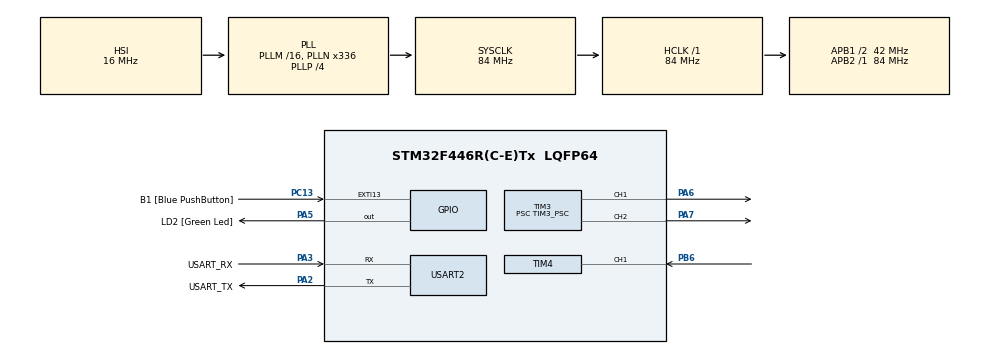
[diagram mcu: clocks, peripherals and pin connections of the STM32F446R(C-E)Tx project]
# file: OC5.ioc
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Mcu.Family=STM32F4
PH0-OSC_IN.Signal=RCC_OSC_IN
RCC.CortexFreq_Value=84000000
PA14.GPIO_Label=TCK
PC13.GPIO_Label=B1 [Blue PushButton]
RCC.SYSCLKSource=RCC_SYSCLKSOURCE_PLLCLK
ProjectManager.StackSize=0x400
TIM4.Channel-Input_Capture1_from_TI1=TIM_CHANNEL_1
Mcu.UserConstants=TIM3_ARR_F2,TIM3_ARR/2;TIM3_ARR,1999;TIM3_PSC,46;TIM4_PSC,TIM3_PSC;TIM4_ARR,TIM3_ARR_F2/2
RCC.HCLKFreq_Value=84000000
RCC.APB2TimFreq_Value=84000000
TIM3.Period=TIM3_ARR
PB6.Signal=S_TIM4_CH1
VP_TIM10_VS_ClockSourceINT.Mode=Enable_Timer
RCC.AHBFreq_Value=84000000
PH0-OSC_IN.Mode=HSE-External-Oscillator
RCC.HSE_VALUE=8000000
PC14-OSC32_IN.Mode=LSE-External-Oscillator
PA14.Mode=Serial_Wire
TIM3.Prescaler=TIM3_PSC
NVIC.TIM2_IRQn=true\:0\:0\:false\:false\:true\:true\:true
SH.S_TIM3_CH1.0=TIM3_CH1,Output Compare1 CH1
TIM4.Period=TIM3_ARR_F2/2
RCC.FLatency-AdvancedSettings=FLASH_LATENCY_2
TIM3.OCPolarity_1=TIM_OCPOLARITY_LOW
TIM3.OCPolarity_2=TIM_OCPOLARITY_LOW
PH1-OSC_OUT.Mode=HSE-External-Oscillator
Mcu.Package=LQFP64
TIM2.Prescaler=46
PA6.Signal=S_TIM3_CH1
USART2.VirtualMode=VM_ASYNC
PA2.GPIO_Label=USART_TX
SH.S_TIM4_CH1.0=TIM4_CH1,Input_Capture1_from_TI1
RCC.APB1TimFreq_Value=84000000
TIM3.Channel-Output\ Compare2\ CH2=TIM_CHANNEL_2
VP_TIM3_VS_ClockSourceINT.Mode=Internal
PA3.Signal=USART2_RX
PB3.GPIO_Label=SWO
TIM10.Prescaler=19999
PC15-OSC32_OUT.Mode=LSE-External-Oscillator
PC13.Signal=GPXTI13
RCC.APB1CLKDivider=RCC_HCLK_DIV2
PC14-OSC32_IN.Signal=RCC_OSC32_IN
PA13.Signal=SYS_JTMS-SWDIO
PA3.Mode=Asynchronous
TIM4.ICPolarity_CH1=TIM_INPUTCHANNELPOLARITY_RISING
ProjectManager.TargetToolchain=STM32CubeIDE
RCC.USBFreq_Value=168000000
TIM4.Prescaler=TIM4_PSC
PC15-OSC32_OUT.Signal=RCC_OSC32_OUT
TIM3.Channel-Output\ Compare1\ CH1=TIM_CHANNEL_1
PA5.Signal=GPIO_Output
SH.S_TIM3_CH2.0=TIM3_CH2,Output Compare2 CH2
board=NUCLEO-F446RE
RCC.VCOOutputFreq_Value=336000000
NVIC.TIM3_IRQn=true\:0\:0\:false\:false\:true\:true\:true
TIM10.Period=41999
RCC.APB2Freq_Value=84000000
TIM3.OCMode_1=TIM_OCMODE_TOGGLE
TIM3.OCMode_2=TIM_OCMODE_TOGGLE
VP_TIM2_VS_ClockSourceINT.Mode=Internal
PH1-OSC_OUT.Signal=RCC_OSC_OUT
TIM3.Pulse-Output\ Compare2\ CH2=TIM3_ARR_F2
TIM2.Period=500
PA13.Mode=Serial_Wire
Mcu.Name=STM32F446R(C-E)Tx
PA13.GPIO_Label=TMS
PA2.Signal=USART2_TX
RCC.48MHZClocksFreq_Value=84000000
PB3.Signal=SYS_JTDO-SWO
RCC.SYSCLKFreq_VALUE=84000000
PA5.GPIO_Label=LD2 [Green Led]
PC13.GPIO_ModeDefaultEXTI=GPIO_MODE_IT_FALLING
PA14.Signal=SYS_JTCK-SWCLK
ProjectManager.HeapSize=0x200
NVIC.TIM1_UP_TIM10_IRQn=true\:0\:0\:false\:false\:true\:true\:true
RCC.HSI_VALUE=16000000
VP_TIM4_VS_ClockSourceINT.Mode=Internal
RCC.PLLP=RCC_PLLP_DIV4
NVIC.PriorityGroup=NVIC_PRIORITYGROUP_0
RCC.PLLN=336
PA2.Mode=Asynchronous
NVIC.TIM4_IRQn=true\:0\:0\:false\:false\:true\:true\:true
RCC.APB1Freq_Value=42000000
PA3.GPIO_Label=USART_RX
PA7.Signal=S_TIM3_CH2

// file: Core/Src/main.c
/* USER CODE BEGIN Header */
/**
  ******************************************************************************
  * @file           : main.c
  * @brief          : Main program body
  ******************************************************************************
  * @attention
  *
  * <h2><center>&copy; Copyright (c) 2021 STMicroelectronics.
  * All rights reserved.</center></h2>
  *
  * This software component is licensed by ST under BSD 3-Clause license,
  * the "License"; You may not use this file except in compliance with the
  * License. You may obtain a copy of the License at:
  *                        opensource.org/licenses/BSD-3-Clause
  *
  ******************************************************************************
  */
/* USER CODE END Header */
#include "main.h"
#include "tim.h"
#include "usart.h"
#include "gpio.h"

/* USER CODE BEGIN PV */
uint8_t A = -1;
uint16_t B = 0;
uint64_t C = 0;
uint64_t period = 0;
uint8_t pin2 = 0;
char msg[50];
/* USER CODE END PV */

void SystemClock_Config(void);

int main(void)
{

  /* MCU Configuration--------------------------------------------------------*/

  /* Reset of all peripherals, Initializes the Flash interface and the Systick. */
  HAL_Init();

  /* Configure the system clock */
  SystemClock_Config();

  /* Initialize all configured peripherals */
  MX_GPIO_Init();
  MX_USART2_UART_Init();
  MX_TIM3_Init();
  MX_TIM4_Init();
  MX_TIM10_Init();
  MX_TIM2_Init();
  /* USER CODE BEGIN 2 */
  HAL_TIM_Base_Start(&htim10);
  HAL_TIM_Base_Start_IT(&htim2);
  HAL_TIM_IC_Start_IT(&htim4, TIM_CHANNEL_1); //PB6
  HAL_TIM_OC_Start_IT(&htim3, TIM_CHANNEL_1); //PA6
  HAL_TIM_OC_Start_IT(&htim3, TIM_CHANNEL_2); //PA7
  /* USER CODE END 2 */

  /* Infinite loop */
  /* USER CODE BEGIN WHILE */
  while (1)
  {
	  if((period > 0) && __HAL_TIM_GET_FLAG(&htim10, TIM_FLAG_UPDATE)){
		 sprintf(msg, "Frequencia medida: %uHz\n\r",(uint64_t)(84000000/((TIM4_PSC+1)*(period+1))));
		 period = 0;
		 HAL_UART_Transmit_IT(&huart2, msg, strlen(msg));
		 __HAL_TIM_CLEAR_FLAG(&htim10, TIM_FLAG_UPDATE);
	  }
    /* USER CODE END WHILE */

  }
}

void SystemClock_Config(void)
{
  RCC_OscInitTypeDef RCC_OscInitStruct = {0};
  RCC_ClkInitTypeDef RCC_ClkInitStruct = {0};

  /** Configure the main internal regulator output voltage
  */
  __HAL_RCC_PWR_CLK_ENABLE();
  __HAL_PWR_VOLTAGESCALING_CONFIG(PWR_REGULATOR_VOLTAGE_SCALE3);
  /** Initializes the RCC Oscillators according to the specified parameters
  * in the RCC_OscInitTypeDef structure.
  */
  RCC_OscInitStruct.OscillatorType = RCC_OSCILLATORTYPE_HSI;
  RCC_OscInitStruct.HSIState = RCC_HSI_ON;
  RCC_OscInitStruct.HSICalibrationValue = RCC_HSICALIBRATION_DEFAULT;
  RCC_OscInitStruct.PLL.PLLState = RCC_PLL_ON;
  RCC_OscInitStruct.PLL.PLLSource = RCC_PLLSOURCE_HSI;
  RCC_OscInitStruct.PLL.PLLM = 16;
  RCC_OscInitStruct.PLL.PLLN = 336;
  RCC_OscInitStruct.PLL.PLLP = RCC_PLLP_DIV4;
  RCC_OscInitStruct.PLL.PLLQ = 2;
  RCC_OscInitStruct.PLL.PLLR = 2;
  if (HAL_RCC_OscConfig(&RCC_OscInitStruct) != HAL_OK)
  {
    Error_Handler();
  }
  /** Initializes the CPU, AHB and APB buses clocks
  */
  RCC_ClkInitStruct.ClockType = RCC_CLOCKTYPE_HCLK|RCC_CLOCKTYPE_SYSCLK
                              |RCC_CLOCKTYPE_PCLK1|RCC_CLOCKTYPE_PCLK2;
  RCC_ClkInitStruct.SYSCLKSource = RCC_SYSCLKSOURCE_PLLCLK;
  RCC_ClkInitStruct.AHBCLKDivider = RCC_SYSCLK_DIV1;
  RCC_ClkInitStruct.APB1CLKDivider = RCC_HCLK_DIV2;
  RCC_ClkInitStruct.APB2CLKDivider = RCC_HCLK_DIV1;

  if (HAL_RCC_ClockConfig(&RCC_ClkInitStruct, FLASH_LATENCY_2) != HAL_OK)
  {
    Error_Handler();
  }
}

/* USER CODE BEGIN 4 */
void HAL_TIM_IC_CaptureCallback(TIM_HandleTypeDef *htim){
	if(A == -1) A = __HAL_TIM_GET_COMPARE(&htim4, TIM_CHANNEL_1);
	else{
		B = __HAL_TIM_GET_COMPARE(&htim4, TIM_CHANNEL_1);	//Salvando onde o pulso estourou dentro do tim2
		if(C > 0)
		{
			if(C > 1)
			{
				C--;	//ignorando o final do primeiro periodo
				period = (TIM4_ARR - A + B) + TIM4_ARR * C;		// se entre o valor inicial e o valor final (Internal) houverem periodos completos do timer3
			}
			else period = (TIM4_ARR - A + B);	// se o valor inicial e o valor final (Internal) estiverem em periodos subsequentes do timer3
		}
		else period = B - A;		// se ainda estiver dentro do mesmo periodo do timer3
		A = -1;
		C = 0;
	}
}
void HAL_TIM_PeriodElapsedCallback(TIM_HandleTypeDef *htim){
	if((htim->Instance == TIM2) && (A > -1)) C++;
}

void HAL_TIM_OC_DelayElapsedCallback(TIM_HandleTypeDef *htim){
	if(htim->Channel == HAL_TIM_ACTIVE_CHANNEL_2){
		if(pin2 == 0){
			pin2 = 1;
			__HAL_TIM_SET_COMPARE(htim, TIM_CHANNEL_2, TIM3_ARR);
		}
		else{
			pin2 = 0;
			__HAL_TIM_SET_COMPARE(htim, TIM_CHANNEL_2, TIM3_ARR_F2);
		}
	}
}
/* USER CODE END 4 */

void Error_Handler(void)
{
  __disable_irq();
  while (1)
  {
  }
}

/************************ (C) COPYRIGHT STMicroelectronics *****END OF FILE****/
